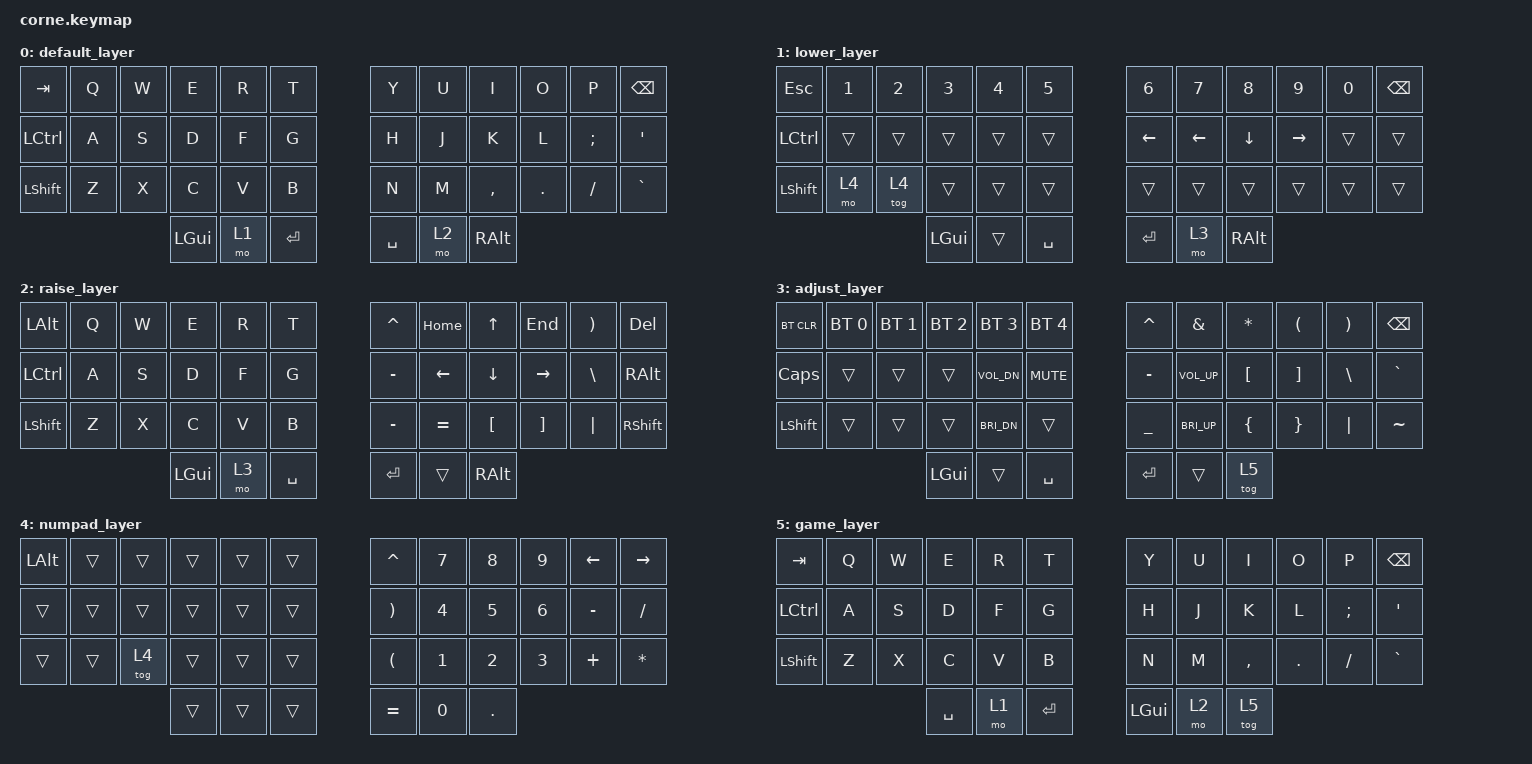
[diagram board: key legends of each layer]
/*
 * Copyright (c) 2020 The ZMK Contributors
 *
 * SPDX-License-Identifier: MIT
 */

#include <behaviors.dtsi>
#include <dt-bindings/zmk/keys.h>
#include <dt-bindings/zmk/bt.h>

/ {
        keymap {
                compatible = "zmk,keymap";

                default_layer {
// -----------------------------------------------------------------------------------------
// |  TAB |  Q  |  W  |  E  |  R  |  T  |   |  Y  |  U   |  I  |  O  |  P  | BSPC |
// | CTRL |  A  |  S  |  D  |  F  |  G  |   |  H  |  J   |  K  |  L  |  ;  |  '   |
// | SHFT |  Z  |  X  |  C  |  V  |  B  |   |  N  |  M   |  ,  |  .  |  /  |   `  |
//                    | GUI | LWR | RET |   | SPC | RSE  | ALT |
                        bindings = <
   &kp TAB   &kp Q &kp W &kp E &kp R &kp T   &kp Y &kp U  &kp I     &kp O   &kp P    &kp BSPC
   &kp LCTRL &kp A &kp S &kp D &kp F &kp G   &kp H &kp J  &kp K     &kp L   &kp SEMI &kp SQT
   &kp LSHFT &kp Z &kp X &kp C &kp V &kp B   &kp N &kp M  &kp COMMA &kp DOT &kp FSLH &kp GRAVE
                  &kp LGUI &mo 1  &kp RET    &kp SPACE &mo 2 &kp RALT
                        >;
                };

                lower_layer {
// -----------------------------------------------------------------------------------------
// |  ESC |  1  |  2  |  3  |  4  |  5  |   |  6  |  7  |  8  |  9  |  0  | BSPC |
// | CTRL | BT1 | BT2 | BT3 | BT4 | BT5 |   | LFT | LFT | DWN | RGT |     |      |
// | SHFT | NPD | NPD |     |     |     |   |     |     |     |     |     |      |
//                    | GUI |     | SPC |   | ENT | ADJ | ALT |
                        bindings = <
   &kp ESC    &kp N1 &kp N2 &kp N3   &kp N4  &kp N5     &kp N6   &kp N7   &kp N8   &kp N9    &kp N0 &kp BSPC
   &kp LCTRL  &trans &trans &trans   &trans  &trans     &kp LEFT &kp LEFT &kp DOWN &kp RIGHT &trans &trans
   &kp LSHFT  &mo 4  &tog 4 &trans   &trans  &trans     &trans   &trans   &trans   &trans    &trans &trans
                            &kp LGUI &trans  &kp SPACE  &kp RET  &mo 3    &kp RALT
                        >;
                };

                raise_layer {
// -----------------------------------------------------------------------------------------
// |  ALT |  Q  |  W  |  E  |  R  |  T  |   |  ^  |  &  |  UP |  (  |  )  | DEL  |
// | CTRL |  A  |  S  |  D  |  F  |  G  |   |  -  | LFT | DWN | RGT |  \  |  ALT |
// | SHFT |  Z  |  X  |  C  |  V  |  B  |   |  -  |  =  |  [  |  ]  | "|" | SHFT |
//                    | GUI | ADJ | SPC |   | ENT |     | ALT |
                        bindings = <
   &kp LALT   &kp Q &kp W &kp E &kp R &kp T    &kp CARET &kp HOME  &kp UP   &kp END   &kp RPAR &kp DEL
   &kp LCTRL &kp A &kp S &kp D &kp F &kp G    &kp MINUS &kp LEFT  &kp DOWN &kp RIGHT &kp BSLH &kp RALT
   &kp LSHFT &kp Z &kp X &kp C &kp V &kp B    &kp MINUS &kp EQUAL &kp LBKT &kp RBKT  &kp PIPE &kp RSHFT
                  &kp LGUI &mo 3 &kp SPACE    &kp RET   &trans    &kp RALT
                        >;
                };

                adjust_layer {
// -----------------------------------------------------------------------------------------
// | BTCLR| BT1 | BT2 | BT3 | BT4 | BT5 |   |  ^  |  &  |  *  |  (  |  )  | BSPC |
// | CTRL |     |     |     |     |     |   |  -  |  =  |  [  |  ]  |  \  |  `   |
// | SHFT |     |     |     |     |     |   |  _  |  +  |  {  |  }  | "|" |  ~   |
//                    | GUI |     | SPC |   | ENT |     | ALT |
                        bindings = <
   &bt BT_CLR  &bt BT_SEL 0 &bt BT_SEL 1 &bt BT_SEL 2   &bt BT_SEL 3  &bt BT_SEL 4   &kp CARET &kp AMPS     &kp ASTRK &kp LPAR &kp RPAR &kp BSPC
   &kp CAPS    &trans       &trans       &trans         &kp C_VOL_DN  &kp C_MUTE     &kp MINUS &kp C_VOL_UP &kp LBKT  &kp RBKT &kp BSLH &kp GRAVE
   &kp LSHFT   &trans       &trans       &trans         &kp C_BRI_DN  &trans         &kp UNDER &kp C_BRI_UP &kp LBRC  &kp RBRC &kp PIPE &kp TILDE
                                         &kp LGUI       &trans        &kp SPACE      &kp RET   &trans       &tog 5
                        >;
                };

                numpad_layer {
// -----------------------------------------------------------------------------------------
// | ALT  |     |     |     |     |     |   |  ^  |  7  |  8  |  9  |  <- |  ->  |
// |      |     |     |     |     |     |   |  )  |  4  |  5  |  6  |  -  |  /   |
// |      |     |     |     |     |     |   |  (  |  1  |  2  |  3  |  +  |  *   |
//                    |     |     |     |   |  +  |  0  |  .  |
                        bindings = <
   &kp LALT &trans &trans &trans &trans &trans    &kp CARET &kp N7 &kp N8 &kp N9 &kp LEFT  &kp RIGHT
   &trans   &trans &trans &trans &trans &trans    &kp RPAR  &kp N4 &kp N5 &kp N6 &kp MINUS &kp FSLH
   &trans   &trans &tog 4 &trans &trans &trans    &kp LPAR  &kp N1 &kp N2 &kp N3 &kp PLUS  &kp ASTRK
                          &trans &trans &trans    &kp EQUAL &kp N0 &kp DOT
                        >;
                };

                game_layer {
// -----------------------------------------------------------------------------------------
// |  TAB |  Q  |  W  |  E  |  R  |  T  |   |  Y  |  U   |  I  |  O  |  P  | BSPC |
// | CTRL |  A  |  S  |  D  |  F  |  G  |   |  H  |  J   |  K  |  L  |  ;  |  '   |
// | SHFT |  Z  |  X  |  C  |  V  |  B  |   |  N  |  M   |  ,  |  .  |  /  |   `  |
//                    | SPC | LWR | RET |   | GUI | RSE  | GME |
                        bindings = <
   &kp TAB   &kp Q &kp W &kp E &kp R &kp T   &kp Y &kp U  &kp I     &kp O   &kp P    &kp BSPC
   &kp LCTRL &kp A &kp S &kp D &kp F &kp G   &kp H &kp J  &kp K     &kp L   &kp SEMI &kp SQT
   &kp LSHFT &kp Z &kp X &kp C &kp V &kp B   &kp N &kp M  &kp COMMA &kp DOT &kp FSLH &kp GRAVE
                  &kp SPACE &mo 1  &kp RET   &kp LGUI &mo 2 &tog 5
                        >;
                };
        };
};
